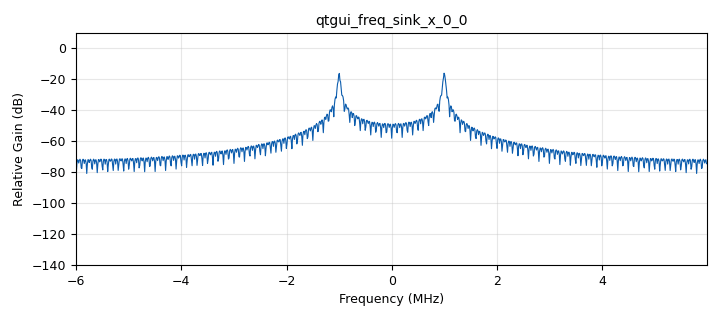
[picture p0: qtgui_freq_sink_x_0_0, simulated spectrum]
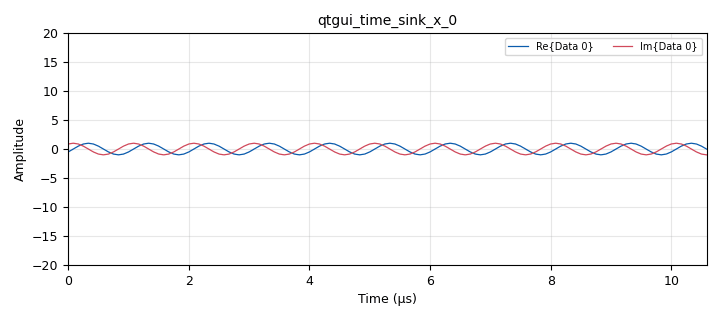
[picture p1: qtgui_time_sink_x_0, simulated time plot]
options:
  parameters:
    author: Marcelo Doalo
    comment: Agregar filtros RRC
    generate_options: qt_gui
    id: BFSK
    output_language: python
    title: BFSK Demo
  states: {}

blocks:
- name: Freq
  id: variable_qtgui_entry
  parameters:
    comment: 0,3,1,1
    gui_hint: 0,3,1,1
    label: 'Frec [MHz]:'
    type: real
    value: '51'
  states: {}
- name: IF_Gain
  id: variable_qtgui_range
  parameters:
    comment: 0,0,1,2
    gui_hint: 0,0,1,2
    start: '0'
    step: '1'
    stop: '50'
    value: '50'
  states: {}
- name: RF_Gain
  id: variable_qtgui_check_box
  parameters:
    comment: 0,2,1,1
    'false': '0'
    gui_hint: 0,2,1,1
    label: RF Gain (13 dB)
    'true': '13'
    type: int
    value: 'False'
  states: {}
- name: samp_rate
  id: variable
  parameters:
    value: '12000000'
  states: {}
- name: analog_random_source_x_0
  id: analog_random_source_x
  parameters:
    max: '2'
    min: '0'
    num_samps: '1000'
    repeat: 'True'
    type: byte
  states: {}
- name: analog_sig_source_x_0
  id: analog_sig_source_x
  parameters:
    amp: '1'
    freq: '1000000'
    offset: '0'
    phase: '0'
    samp_rate: samp_rate
    type: complex
    waveform: analog.GR_COS_WAVE
  states: {}
- name: blocks_add_const_vxx_0
  id: blocks_add_const_vxx
  parameters:
    const: '-1'
    type: float
  states: {}
- name: blocks_char_to_float_0
  id: blocks_char_to_float
  parameters:
    scale: '.5'
  states: {}
- name: blocks_complex_to_float_0
  id: blocks_complex_to_float
  parameters: {}
  states: {}
- name: blocks_float_to_complex_0
  id: blocks_float_to_complex
  parameters: {}
  states: {}
- name: blocks_multiply_xx_0
  id: blocks_multiply_xx
  parameters:
    type: float
  states: {}
- name: blocks_repeat_0
  id: blocks_repeat
  parameters:
    comment: Sampes per symbol
    interp: '120'
    type: float
  states: {}
- name: import_0
  id: import
  parameters:
    imports: import math
  states: {}
- name: osmosdr_sink_0
  id: osmosdr_sink
  parameters:
    bb_gain0: '0'
    freq0: Freq*1e6
    gain0: RF_Gain
    if_gain0: IF_Gain
    sample_rate: samp_rate
    sync: pc_clock
    type: fc32
  states: {}
- name: qtgui_freq_sink_x_0_0
  id: qtgui_freq_sink_x
  parameters:
    average: '0.05'
    bw: samp_rate
    ctrlpanel: 'True'
    fc: '0'
    fftsize: '1024'
    gui_hint: tab@1:0,0,1,1
    type: complex
  states: {}
- name: qtgui_time_sink_x_0
  id: qtgui_time_sink_x
  parameters:
    gui_hint: tab@0:0,0,1,1
    size: '128'
    srate: samp_rate
    tr_mode: qtgui.TRIG_MODE_AUTO
    type: complex
    ymax: '20'
    ymin: '-20'
  states: {}
- name: tab
  id: qtgui_tab_widget
  parameters:
    gui_hint: 1,0,4,4
    label0: Tiempo
    label1: Espectro
    num_tabs: '2'
  states: {}
- name: virtual_sink_0
  id: virtual_sink
  parameters:
    stream_id: datos
  states: {}
- name: virtual_source_0
  id: virtual_source
  parameters:
    stream_id: datos
  states: {}

connections:
- [analog_random_source_x_0, '0', blocks_char_to_float_0, '0']
- [analog_sig_source_x_0, '0', blocks_complex_to_float_0, '0']
- [blocks_add_const_vxx_0, '0', blocks_repeat_0, '0']
- [blocks_char_to_float_0, '0', blocks_add_const_vxx_0, '0']
- [blocks_complex_to_float_0, '0', blocks_float_to_complex_0, '0']
- [blocks_complex_to_float_0, '1', blocks_multiply_xx_0, '0']
- [blocks_float_to_complex_0, '0', osmosdr_sink_0, '0']
- [blocks_float_to_complex_0, '0', qtgui_freq_sink_x_0_0, '0']
- [blocks_float_to_complex_0, '0', qtgui_time_sink_x_0, '0']
- [blocks_multiply_xx_0, '0', blocks_float_to_complex_0, '1']
- [blocks_repeat_0, '0', virtual_sink_0, '0']
- [virtual_source_0, '0', blocks_multiply_xx_0, '1']

metadata:
  file_format: 1
  grc_version: 3.10.12.0
